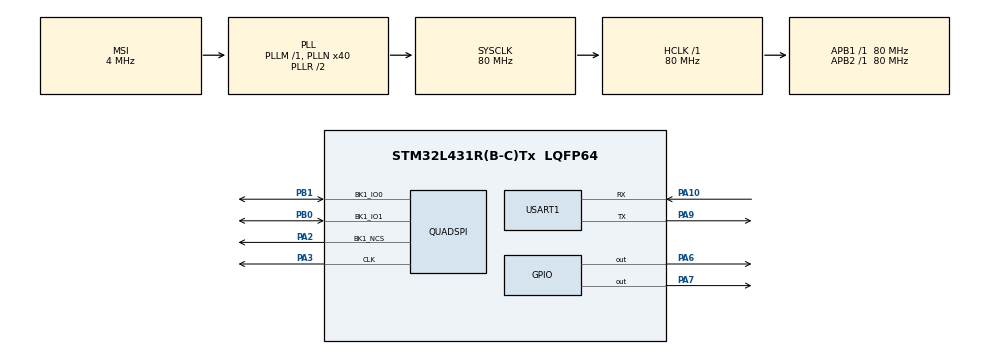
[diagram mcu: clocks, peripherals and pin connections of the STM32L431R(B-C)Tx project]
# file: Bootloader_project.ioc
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Dma.QUADSPI.0.Direction=DMA_PERIPH_TO_MEMORY
Dma.QUADSPI.0.Instance=DMA1_Channel5
Dma.QUADSPI.0.MemDataAlignment=DMA_MDATAALIGN_BYTE
Dma.QUADSPI.0.MemInc=DMA_MINC_ENABLE
Dma.QUADSPI.0.Mode=DMA_NORMAL
Dma.QUADSPI.0.PeriphDataAlignment=DMA_PDATAALIGN_BYTE
Dma.QUADSPI.0.PeriphInc=DMA_PINC_DISABLE
Dma.QUADSPI.0.Priority=DMA_PRIORITY_LOW
Dma.Request0=QUADSPI
Dma.Request1=USART1_RX
Dma.Request2=USART1_TX
Dma.USART1_RX.1.Direction=DMA_PERIPH_TO_MEMORY
Dma.USART1_RX.1.Instance=DMA2_Channel7
Dma.USART1_RX.1.MemDataAlignment=DMA_MDATAALIGN_BYTE
Dma.USART1_RX.1.MemInc=DMA_MINC_ENABLE
Dma.USART1_RX.1.Mode=DMA_NORMAL
Dma.USART1_RX.1.PeriphDataAlignment=DMA_PDATAALIGN_BYTE
Dma.USART1_RX.1.PeriphInc=DMA_PINC_DISABLE
Dma.USART1_RX.1.Priority=DMA_PRIORITY_LOW
Dma.USART1_TX.2.Direction=DMA_MEMORY_TO_PERIPH
Dma.USART1_TX.2.Instance=DMA1_Channel4
Dma.USART1_TX.2.MemDataAlignment=DMA_MDATAALIGN_BYTE
Dma.USART1_TX.2.MemInc=DMA_MINC_ENABLE
Dma.USART1_TX.2.Mode=DMA_NORMAL
Dma.USART1_TX.2.PeriphDataAlignment=DMA_PDATAALIGN_BYTE
Dma.USART1_TX.2.PeriphInc=DMA_PINC_DISABLE
Dma.USART1_TX.2.Priority=DMA_PRIORITY_LOW
Mcu.Family=STM32L4
Mcu.Name=STM32L431R(B-C)Tx
Mcu.Package=LQFP64
NVIC.DMA1_Channel4_IRQn=true\:0\:0\:false\:false\:true\:false\:true\:true
NVIC.DMA1_Channel5_IRQn=true\:0\:0\:false\:false\:true\:false\:true\:true
NVIC.DMA2_Channel7_IRQn=true\:0\:0\:false\:false\:true\:false\:true\:true
NVIC.PriorityGroup=NVIC_PRIORITYGROUP_4
NVIC.USART1_IRQn=true\:0\:0\:false\:false\:true\:true\:true\:true
PA10.Mode=Asynchronous
PA10.Signal=USART1_RX
PA13\ (JTMS-SWDIO).Mode=Serial_Wire
PA13\ (JTMS-SWDIO).Signal=SYS_JTMS-SWDIO
PA14\ (JTCK-SWCLK).Mode=Serial_Wire
PA14\ (JTCK-SWCLK).Signal=SYS_JTCK-SWCLK
PA2.Mode=Single Bank 1 2IOs
PA2.Signal=QUADSPI_BK1_NCS
PA3.Mode=Single Bank 1 2IOs
PA3.Signal=QUADSPI_CLK
PA6.PinState=GPIO_PIN_SET
PA6.Signal=GPIO_Output
PA7.PinState=GPIO_PIN_SET
PA7.Signal=GPIO_Output
PA9.Mode=Asynchronous
PA9.Signal=USART1_TX
PB0.Mode=Single Bank 1 2IOs
PB0.Signal=QUADSPI_BK1_IO1
PB1.Mode=Single Bank 1 2IOs
PB1.Signal=QUADSPI_BK1_IO0
PC14-OSC32_IN\ (PC14).Mode=LSE-External-Oscillator
PC14-OSC32_IN\ (PC14).Signal=RCC_OSC32_IN
PC15-OSC32_OUT\ (PC15).Mode=LSE-External-Oscillator
PC15-OSC32_OUT\ (PC15).Signal=RCC_OSC32_OUT
PH0-OSC_IN\ (PH0).Mode=HSE-External-Oscillator
PH0-OSC_IN\ (PH0).Signal=RCC_OSC_IN
PH1-OSC_OUT\ (PH1).Mode=HSE-External-Oscillator
PH1-OSC_OUT\ (PH1).Signal=RCC_OSC_OUT
ProjectManager.HeapSize=0x200
ProjectManager.StackSize=0x400
ProjectManager.TargetToolchain=MDK-ARM V5.32
QUADSPI.ChipSelectHighTime=QSPI_CS_HIGH_TIME_2_CYCLE
QUADSPI.ClockMode=QSPI_CLOCK_MODE_0
QUADSPI.ClockPrescaler=3
QUADSPI.FifoThreshold=4
QUADSPI.FlashSize=21
QUADSPI.SampleShifting=QSPI_SAMPLE_SHIFTING_HALFCYCLE
RCC.AHBFreq_Value=80000000
RCC.APB1Freq_Value=80000000
RCC.APB1TimFreq_Value=80000000
RCC.APB2Freq_Value=80000000
RCC.APB2TimFreq_Value=80000000
RCC.CortexFreq_Value=80000000
RCC.HCLKFreq_Value=80000000
RCC.HSE_VALUE=8000000
RCC.HSI48_VALUE=48000000
RCC.HSI_VALUE=16000000
RCC.MSI_VALUE=4000000
RCC.PLLN=40
RCC.SYSCLKFreq_VALUE=80000000
RCC.SYSCLKSource=RCC_SYSCLKSOURCE_PLLCLK
RCC.VCOOutputFreq_Value=160000000
USART1.VirtualMode-Asynchronous=VM_ASYNC
board=custom

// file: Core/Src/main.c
/* USER CODE BEGIN Header */
/**
  ******************************************************************************
  * @file           : main.c
  * @brief          : Main program body
  ******************************************************************************
  * @attention
  *
  * Copyright (c) 2026 STMicroelectronics.
  * All rights reserved.
  *
  * This software is licensed under terms that can be found in the LICENSE file
  * in the root directory of this software component.
  * If no LICENSE file comes with this software, it is provided AS-IS.
  *
  ******************************************************************************
  */
/* USER CODE END Header */
#include "main.h"
#include "dma.h"
#include "quadspi.h"
#include "usart.h"
#include "gpio.h"

/* USER CODE BEGIN Includes */

#include <stdio.h>
#include <string.h>
#include "zd25wq32.h"
#include "internal_flash.h"
#include "test_code.h"

/* USER CODE END Includes */

void SystemClock_Config(void);

/* USER CODE BEGIN 0 */
#define RX_LENGTH  1024         // 串口接收缓冲区大小
uint8_t RxBuff[RX_LENGTH] = {0};
/* USER CODE END 0 */

int main(void)
{

  /* MCU Configuration--------------------------------------------------------*/

  /* Reset of all peripherals, Initializes the Flash interface and the Systick. */
  HAL_Init();

  /* Configure the system clock */
  SystemClock_Config();

  /* Initialize all configured peripherals */
  MX_GPIO_Init();
  MX_DMA_Init();
  MX_QUADSPI_Init();
  MX_USART1_UART_Init();
  /* USER CODE BEGIN 2 */

  HAL_UARTEx_ReceiveToIdle_DMA(&huart1, RxBuff, RX_LENGTH); // 先打开一次DMA串口空闲中断

  printf("This is Bootloader_project\r\n");

  ZD25WQ32_Init(); // 外部Flash初始化

  Bootloader_Run();

  /* USER CODE END 2 */

  /* Infinite loop */
  /* USER CODE BEGIN WHILE */
//  Test_MultiPage_And_Erase(); // 外部Flash函数测试
//  Test_InternalFlash(); // 内部Flash函数测试

  while (1)
  {
    /* USER CODE END WHILE */

  }
}

void SystemClock_Config(void)
{
  RCC_OscInitTypeDef RCC_OscInitStruct = {0};
  RCC_ClkInitTypeDef RCC_ClkInitStruct = {0};

  /** Configure the main internal regulator output voltage
  */
  if (HAL_PWREx_ControlVoltageScaling(PWR_REGULATOR_VOLTAGE_SCALE1) != HAL_OK)
  {
    Error_Handler();
  }

  /** Configure LSE Drive Capability
  */
  HAL_PWR_EnableBkUpAccess();
  __HAL_RCC_LSEDRIVE_CONFIG(RCC_LSEDRIVE_LOW);

  /** Initializes the RCC Oscillators according to the specified parameters
  * in the RCC_OscInitTypeDef structure.
  */
  RCC_OscInitStruct.OscillatorType = RCC_OSCILLATORTYPE_LSE|RCC_OSCILLATORTYPE_MSI;
  RCC_OscInitStruct.LSEState = RCC_LSE_ON;
  RCC_OscInitStruct.MSIState = RCC_MSI_ON;
  RCC_OscInitStruct.MSICalibrationValue = 0;
  RCC_OscInitStruct.MSIClockRange = RCC_MSIRANGE_6;
  RCC_OscInitStruct.PLL.PLLState = RCC_PLL_ON;
  RCC_OscInitStruct.PLL.PLLSource = RCC_PLLSOURCE_MSI;
  RCC_OscInitStruct.PLL.PLLM = 1;
  RCC_OscInitStruct.PLL.PLLN = 40;
  RCC_OscInitStruct.PLL.PLLP = RCC_PLLP_DIV7;
  RCC_OscInitStruct.PLL.PLLQ = RCC_PLLQ_DIV2;
  RCC_OscInitStruct.PLL.PLLR = RCC_PLLR_DIV2;
  if (HAL_RCC_OscConfig(&RCC_OscInitStruct) != HAL_OK)
  {
    Error_Handler();
  }

  /** Initializes the CPU, AHB and APB buses clocks
  */
  RCC_ClkInitStruct.ClockType = RCC_CLOCKTYPE_HCLK|RCC_CLOCKTYPE_SYSCLK
                              |RCC_CLOCKTYPE_PCLK1|RCC_CLOCKTYPE_PCLK2;
  RCC_ClkInitStruct.SYSCLKSource = RCC_SYSCLKSOURCE_PLLCLK;
  RCC_ClkInitStruct.AHBCLKDivider = RCC_SYSCLK_DIV1;
  RCC_ClkInitStruct.APB1CLKDivider = RCC_HCLK_DIV1;
  RCC_ClkInitStruct.APB2CLKDivider = RCC_HCLK_DIV1;

  if (HAL_RCC_ClockConfig(&RCC_ClkInitStruct, FLASH_LATENCY_4) != HAL_OK)
  {
    Error_Handler();
  }

  /** Enable MSI Auto calibration
  */
  HAL_RCCEx_EnableMSIPLLMode();
}

/* USER CODE BEGIN 4 */

/**************** 重定向printf ****************/
int fputc(int ch, FILE *f)
{
    /* 将字符发送到串口 */
    HAL_UART_Transmit(&huart1, (uint8_t *)&ch, 1, HAL_MAX_DELAY);
    return ch;
}

/**************** 串口空闲中断 ****************/
void HAL_UARTEx_RxEventCallback(UART_HandleTypeDef *huart, uint16_t Size)
{
    /* 通过基地址判断是否是需要的串口1来的中断信号 */
    if (huart->Instance == USART1)
    {
        /* 功能实现 */
        printf("the receive data is:");                           //DMA没有自己的中断回调函数，使用的还是原外设的中断回调函数
        HAL_UART_Transmit_DMA(&huart1, RxBuff, Size);             //因为在cube中也开启了DMA发送中断，所以试一下使用DMA发送

        /* 重新开启不定长接收中断 */
        HAL_UARTEx_ReceiveToIdle_DMA(&huart1, RxBuff, RX_LENGTH); //每进入一次空闲中断都要重新开启一次DMA接收中断，否则只能触发一次
                                                                  //在while(1)之前也要先开启一次DMA接收中断
    }
}

/* USER CODE END 4 */

void Error_Handler(void)
{
  __disable_irq();
  while (1)
  {
  }
}
